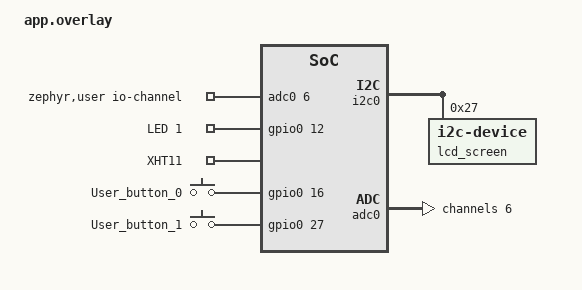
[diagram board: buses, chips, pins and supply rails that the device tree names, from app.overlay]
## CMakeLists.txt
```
# SPDX-License-Identifier: Apache-2.0

cmake_minimum_required(VERSION 3.20.0)

find_package(Zephyr REQUIRED HINTS $ENV{ZEPHYR_BASE})
project(hello_world)

target_sources(app PRIVATE src/main.c)

target_sources(app PRIVATE src/main.c src/lcd_screen_i2c.c)
```

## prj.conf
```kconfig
# nothing here
CONFIG_SENSOR=y
CONFIG_ESP32_USE_UNSUPPORTED_REVISION=y
CONFIG_I2C=y
CONFIG_ADC=y
CONFIG_GPIO=y
CONFIG_PWM=y
```

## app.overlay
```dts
/ {
    zephyr,user{
        io-channels = <&adc0 6>;
    };
    gpio_keys {
        compatible = "gpio-keys";
        ledyellow: led_yellow {
            gpios = <&gpio0 12 GPIO_ACTIVE_HIGH>;
            label = "LED 1";
        };
        dht11: dht11{
            compatible = "aosong,dht";
            status = "okay";
            dio-gpios = <&gpio0 17 GPIO_ACTIVE_LOW>;
            label = "XHT11";
        };
    };
    buttons{
        button0: button_0 {
            gpios = < &gpio0 16 GPIO_PULL_UP>;
            label = "User_button_0";
        };
        button1: button_1 {
            gpios = < &gpio0 27 GPIO_PULL_UP>;
            label = "User_button_1";
        };
    };
    aliases {
        led-yellow = &ledyellow;
        button-0 = &button0;
        button-1 = &button1;
    };  
};

&i2c0 {
    lcd_screen: lcd@27 {
        compatible = "i2c-device";
        reg = <0x27>;
    };
};

&adc0 {
    status = "okay";
	#address-cells = <1>;
	#size-cells = <0>;

	channel@6 {
		reg = <6>;
		zephyr,gain = "ADC_GAIN_1_4";
		zephyr,reference = "ADC_REF_INTERNAL";
		zephyr,acquisition-time = <ADC_ACQ_TIME_DEFAULT>;
		zephyr,resolution = <12>;
	};
};
```

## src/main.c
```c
/*
 * Copyright (c) 2012-2014 Wind River Systems, Inc.
 *
 * SPDX-License-Identifier: Apache-2.0
 */

#include <inttypes.h>
#include <stddef.h>
#include <stdint.h>
#include <stdio.h>
#include <zephyr/kernel.h>
#include <zephyr/drivers/gpio.h>
#include "lcd_screen_i2c.h"
#include <zephyr/drivers/i2c.h>
#include <zephyr/devicetree.h>
#include <zephyr/drivers/sensor.h>
#include <zephyr/drivers/adc.h>
#include <zephyr/sys/util.h>
#include <inttypes.h>

#define LED_YELLOW_NODE DT_ALIAS(led_yellow)
#define LCD_I2C_NODE DT_NODELABEL(lcd_screen)
#define BUTTON_0_NODE DT_ALIAS(button_1)
#define BUTTON_1_NODE DT_ALIAS(button_0)

#if !DT_NODE_EXISTS(DT_PATH(zephyr_user)) || \
	!DT_NODE_HAS_PROP(DT_PATH(zephyr_user), io_channels)
#error "No suitable devicetree overlay specified"
#endif

#define DT_SPEC_AND_COMMA(node_id, prop, idx) \
	ADC_DT_SPEC_GET_BY_IDX(node_id, idx),

/* Data of ADC io-channels specified in devicetree. */
static const struct adc_dt_spec adc_channels[] = {
	DT_FOREACH_PROP_ELEM(DT_PATH(zephyr_user), io_channels, DT_SPEC_AND_COMMA)
};
/////////////////////

/*
 * Get button configuration from the devicetree sw0 alias. This is mandatory.
 */
#define SW0_NODE	DT_ALIAS(sw0)
#if !DT_NODE_HAS_STATUS_OKAY(SW0_NODE)
#error "Unsupported board: sw0 devicetree alias is not defined"
#endif
static const struct gpio_dt_spec button = GPIO_DT_SPEC_GET_OR(SW0_NODE, gpios, {0});
static struct gpio_callback button_cb_data;

/*
 * The led0 devicetree alias is optional. If present, we'll use it
 * to turn on the LED whenever the button is pressed.
 */

void button_pressed(const struct device *dev, struct gpio_callback *cb,
		    uint32_t pins)
{
	printk("Button pressed at %" PRIu32 "\n", k_cycle_get_32());
}

const struct i2c_dt_spec dev_lcd_screen = I2C_DT_SPEC_GET(LCD_I2C_NODE);
const struct gpio_dt_spec led_yellow_gpio = GPIO_DT_SPEC_GET_OR(LED_YELLOW_NODE, gpios, {0});
const struct device *const dht11 = DEVICE_DT_GET_ONE(aosong_dht);
const struct gpio_dt_spec button_1_gpio = GPIO_DT_SPEC_GET_OR(BUTTON_0_NODE, gpios, {0});
const struct gpio_dt_spec button_0_gpio = GPIO_DT_SPEC_GET_OR(BUTTON_1_NODE, gpios, {0});

int main(void)
{
	gpio_init_callback(&button_cb_data, button_pressed, BIT(button.pin));
	gpio_add_callback(button.port, &button_cb_data);
	printk("Set up button at %s pin %d\n", button.port->name, button.pin);

	// Init device
    init_lcd(&dev_lcd_screen);
	
    // Display a message
    write_lcd(&dev_lcd_screen, HELLO_MSG, LCD_LINE_1);
    //write_lcd_clear(&dev_lcd_screen, ZEPHYR_MSG, LCD_LINE_2);

	// Hello World
	printf("Hello World! %s\n", CONFIG_BOARD_TARGET);

	// LED ON
	gpio_pin_configure_dt(&led_yellow_gpio, GPIO_OUTPUT_HIGH);
	k_sleep(K_SECONDS(2));
	while(1){
		/*thread_capteur_temp_hum();
		thread_capteur_adc();
		thread_sensor_button();*/
		k_sleep(K_SECONDS(10));
	}
}

void thread_capteur_temp_hum() {
	while(1){
		// Variables pour la temp et l'hum
		struct sensor_value temperature, humidity;

		// Data capteur
		sensor_sample_fetch(dht11);

		// Obtenir temperature et humidite
		sensor_channel_get(dht11, SENSOR_CHAN_AMBIENT_TEMP, &temperature);
		sensor_channel_get(dht11, SENSOR_CHAN_HUMIDITY, &humidity);

		// Convers° des valeurs pour l'affichage
		int temp = sensor_value_to_double(&temperature);
		int hum = sensor_value_to_double(&humidity);

			
		printf("Temperature = %d\n",temp);
		printf("Humidite = %d\n",hum);
		k_sleep(K_SECONDS(10));
	}
}



void thread_capteur_adc() {
	while(1){
		// ADC 
		int err;
		uint32_t count = 0;
		uint16_t buf;
		struct adc_sequence sequence = {
			.buffer = &buf,
			/* buffer size in bytes, not number of samples */
			.buffer_size = sizeof(buf),
		};
			/* Configure channels individually prior to sampling. */
		for (size_t i = 0U; i < ARRAY_SIZE(adc_channels); i++) {
			if (!adc_is_ready_dt(&adc_channels[i])) {
				printk("ADC controller device %s not ready\n", adc_channels[i].dev->name);
			}
			err = adc_channel_setup_dt(&adc_channels[i]);
			if (err < 0) {
				printk("Could not setup channel #%d (%d)\n", i, err);
			}
		}

	#ifndef CONFIG_COVERAGE
	#else
		for (int k = 0; k < 10; k++) {
	#endif
			printk("ADC reading[%u]:\n", count++);
			for (size_t i = 0U; i < ARRAY_SIZE(adc_channels); i++) {
				int32_t val_mv;
				printk("- %s, channel %d: ",
					adc_channels[i].dev->name,
					adc_channels[i].channel_id);

				(void)adc_sequence_init_dt(&adc_channels[i], &sequence);

				err = adc_read_dt(&adc_channels[i], &sequence);
				if (err < 0) {
					printk("Could not read (%d)\n", err);
					continue;
				}

					/*
					* If using differential mode, the 16 bit value
					* in the ADC sample buffer should be a signed 2's
					* complement value.
					*/
				if (adc_channels[i].channel_cfg.differential) {
					val_mv = (int32_t)((int16_t)buf);
				} else {
					val_mv = (int32_t)buf;
				}
				printk("%"PRId32, val_mv);
				err = adc_raw_to_millivolts_dt(&adc_channels[i],
								&val_mv);
				/* conversion to mV may not be supported, skip if not */
				if (err < 0) {
					printk(" (value in mV not available)\n");
				} else {
					printk(" = %"PRId32" mV\n", val_mv);
				}
			}
		k_sleep(K_SECONDS(10));
	}
	k_sleep(K_SECONDS(10));
	}
	





void thread_sensor_button() {
	//////////////////////////
		int ret;

		if (!gpio_is_ready_dt(&button)) {
			printk("Error: button device %s is not ready\n", button.port->name);
		}

		ret = gpio_pin_configure_dt(&button, GPIO_INPUT);
		if (ret != 0) {
			printk("Error %d: failed to configure %s pin %d\n",
				ret, button.port->name, button.pin);
		}

		ret = gpio_pin_interrupt_configure_dt(&button, GPIO_INT_EDGE_TO_ACTIVE);
		if (ret != 0) {
			printk("Error %d: failed to configure interrupt on %s pin %d\n",
				ret, button.port->name, button.pin);
		}

		
	
}

K_THREAD_DEFINE(thread_button, 521, thread_sensor_button, NULL, NULL, NULL, 9, 0, 0);
K_THREAD_DEFINE(thread_temp_hum, 521, thread_capteur_temp_hum, NULL, NULL, NULL, 9, 0, 0);
K_THREAD_DEFINE(thread_adc, 521, thread_capteur_adc, NULL, NULL, NULL, 9, 0, 0);
```

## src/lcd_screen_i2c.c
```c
#include "lcd_screen_i2c.h"
#include <zephyr/drivers/i2c.h>
#include <zephyr/kernel.h>

static void lcd_toggle_enable(const struct i2c_dt_spec *dev_lcd_screen, uint8_t bits);
static void lcd_byte(const struct i2c_dt_spec *dev_lcd_screen, uint8_t bits, uint8_t mode);

void init_lcd(const struct i2c_dt_spec *dev_lcd_screen)
{
    lcd_byte(dev_lcd_screen, 0x33, LCD_CMD);
    lcd_byte(dev_lcd_screen, 0x32, LCD_CMD);
    lcd_byte(dev_lcd_screen, 0x06, LCD_CMD);
    lcd_byte(dev_lcd_screen, 0x0c, LCD_CMD);
    lcd_byte(dev_lcd_screen, 0x28, LCD_CMD);
    lcd_byte(dev_lcd_screen, 0x01, LCD_CMD);
    write_lcd(dev_lcd_screen, HELLO_MSG, LCD_LINE_1);
    write_lcd(dev_lcd_screen, ZEPHYR_MSG, LCD_LINE_2);
}

static void lcd_byte(const struct i2c_dt_spec *dev_lcd_screen, uint8_t bits, uint8_t mode)
{
    int ret = 0;
    uint8_t bits_high = mode | (bits & 0xf0) | LCD_BACKLIGHT;
    uint8_t bits_low = mode | ((bits << 4) & 0xf0) | LCD_BACKLIGHT;
    ret = i2c_write_dt(dev_lcd_screen, &bits_high, sizeof(bits_high));
    if (ret != 0)
    {
        printk("ERROR while writing to I2C");
    }
    lcd_toggle_enable(dev_lcd_screen, bits_high);

    ret = i2c_write_dt(dev_lcd_screen, &bits_low, sizeof(bits_low));
    if (ret != 0)
    {
        printk("ERROR while writing to I2C");
    }
    lcd_toggle_enable(dev_lcd_screen, bits_low);
}

void write_lcd(const struct i2c_dt_spec *dev_lcd_screen, const char *msg, uint8_t line)
{
    lcd_byte(dev_lcd_screen, line, LCD_CMD);

    // Todo: fill the array with space at the end to complete the line

    if (strlen(msg) > LCD_WIDTH)
    {
        return;
    }
    for (uint8_t i = 0; i < strlen(msg); i++)
    {
        lcd_byte(dev_lcd_screen, msg[i], LCD_CHR);
    }
}

static void lcd_toggle_enable(const struct i2c_dt_spec *dev_lcd_screen, uint8_t bits)
{
    int ret = 0;
    k_sleep(K_MSEC(5));
    uint8_t bits1 = bits | LCD_ENABLE;
    ret = i2c_write_dt(dev_lcd_screen, &bits1, sizeof(bits1));
    if (ret != 0)
    {
        printk("ERROR while writing to I2C");
    }
    k_sleep(K_MSEC(5));
    uint8_t bits2 = bits & ~LCD_ENABLE;
    ret = i2c_write_dt(dev_lcd_screen, &bits2, sizeof(bits2));
    if (ret != 0)
    {
        printk("ERROR while writing to I2C");
    }
    k_sleep(K_MSEC(5));
}
```

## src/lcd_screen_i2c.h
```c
/**
 * Author: Vivien Debuchy
 * Simple library for LCD-1602 I2C
 * Based on https://github.com/sterlingbeason/LCD-1602-I2C
 */

#ifndef INC_LCD_SCREEN_I2C_H_
#define INC_LCD_SCREEN_I2C_H_

#include <zephyr/types.h>

struct i2c_dt_spec;

#define LCD_BACKLIGHT 0x08
#define LCD_CMD 0x00
#define LCD_CHR 0x01
#define LCD_ENABLE 0b00000100
#define LCD_LINE_1 0x80 // Select line 1
#define LCD_LINE_2 0xc0 // Select line 2
#define LCD_WIDTH 16    // Max number of carac per lines

#define HELLO_MSG "Hello !"
#define ZEPHYR_MSG "Zephyr is cool"

#define START_ALERT_MONITORING_MSG_1 "Alarm"
#define START_ALERT_MONITORING_MSG_2 "Protection"

#define INTRUDER_MSG_1 "INTRUDER"
#define INTRUDER_MSG_2 "LEAVE !"

void init_lcd(const struct i2c_dt_spec *dev_lcd_screen);
void write_lcd(const struct i2c_dt_spec *dev_lcd_screen, const char *msg, uint8_t line);
void write_lcd_clear(const struct i2c_dt_spec *dev_lcd_screen, const char *msg, uint8_t line);

#endif // INC_LDC_SCREEN_I2C_H_
```
